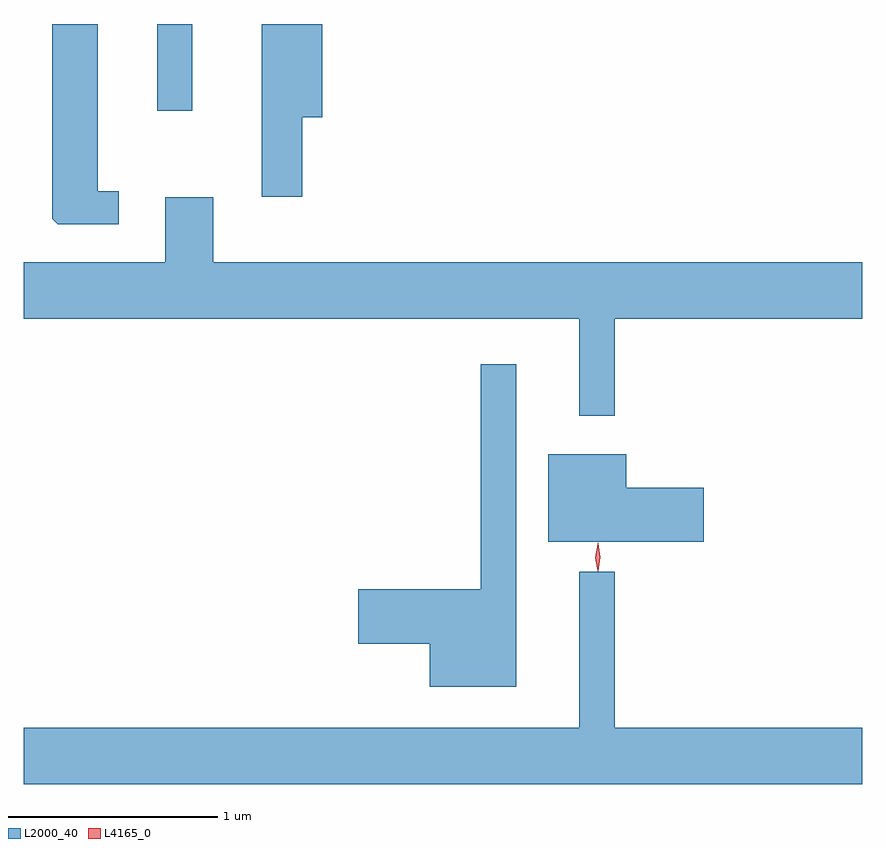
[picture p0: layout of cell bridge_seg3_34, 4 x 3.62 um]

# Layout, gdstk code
import gdstk
lib = gdstk.Library(unit=1e-6, precision=1e-09)
def R(c, l, rs):  # rectangles x0, y0, x1, y1
    for r in rs: c.add(gdstk.rectangle(r[:2], r[2:], *l))
def P(c, l, *ps):  # polygons
    for p in ps: c.add(gdstk.Polygon(p, *l))
L2000_40 = (2000, 40)
L4165_0 = (4165, 0)

bridge_seg3_34 = lib.new_cell('bridge_seg3_34')
R(bridge_seg3_34, L2000_40, [(1328.066,1180.288,1328.234,1180.701)])
P(bridge_seg3_34, L2000_40, [(1328.759,1180.256),(1328.854,1180.256),(1328.854,1180.701),(1328.566,1180.701),(1328.566,1179.876),(1328.759,1179.876)],
  [(1327.883,1179.904),(1327.784,1179.904),(1327.784,1180.701),(1327.566,1180.701),(1327.566,1179.772),(1327.592,1179.746),(1327.883,1179.746)],
  [(1330.249,1179.296),(1331.43,1179.296),(1331.43,1179.564),(1328.334,1179.564),(1328.334,1179.874),(1328.106,1179.874),(1328.106,1179.564),(1327.43,1179.564),(1327.43,1179.296),(1330.081,1179.296),(1330.081,1178.833),(1330.249,1178.833)],
  [(1329.779,1179.078),(1329.611,1179.078),(1329.611,1178.004),(1329.026,1178.004),(1329.026,1177.746),(1329.366,1177.746),(1329.366,1177.541),(1329.779,1177.541)],
  [(1330.674,1178.489),(1330.304,1178.489),(1330.304,1178.649),(1329.931,1178.649),(1329.931,1178.231),(1330.674,1178.231)],
  [(1331.43,1177.344),(1330.249,1177.344),(1330.249,1178.088),(1330.081,1178.088),(1330.081,1177.344),(1327.43,1177.344),(1327.43,1177.076),(1331.43,1177.076)])
P(bridge_seg3_34, L4165_0, [(1330.169,1178.09),(1330.16,1178.158),(1330.169,1178.225),(1330.17,1178.226),(1330.17,1178.225),(1330.18,1178.158),(1330.17,1178.09),(1330.17,1178.09)],
  [(1330.167,1178.093),(1330.167,1178.093),(1330.157,1178.156),(1330.167,1178.219),(1330.167,1178.22),(1330.168,1178.219),(1330.177,1178.156),(1330.168,1178.093)])

lib.write_gds('bridge_seg3_34.gds')
